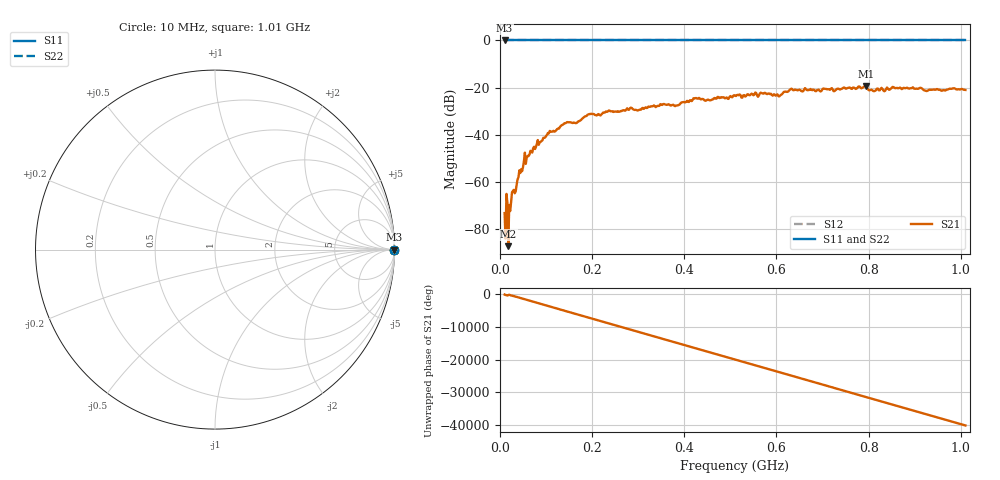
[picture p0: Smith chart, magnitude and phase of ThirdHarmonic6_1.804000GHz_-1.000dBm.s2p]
! 8/16/2025 9:50:43 PM
! C:\ANRITSUVNA\TEMP\TEMP.S2P
! CHANNEL.1
! TR.MEASUREMENT
! RAW.DATA
! RF.CORRECTION.OFF
! AVERAGING.OFF
! IF.BANDWIDTH: 5KHZ
! SWEEPTYPE:  FREQ.SWEEP(Linear)
! Reference Plane Port Info
! PORT:  PORT1  PORT2
! DISTANCE:  0  m  0  m
! TIME:  0  s  0  s
! PHASE.OFFSET:  0  deg.  0  deg.
! LOSS:  0  dB  0  dB
! REF.LOSS:  0  dB  0  dB
! REF.FREQ:  0  Hz  0  Hz
! Power Info
! POWER:  -20  dBm  -20  dBm
! EFF.POWER:  -20  dBm  -20  dBm
! SOURCE.ATTEN:  0  dB  0  dB
! TEST.ATTEN:  0  dB  0  dB
# GHZ S RI R 50.0
! FREQ.GHZ  S11RE  S11IM  S21RE  S21IM  S12RE  S12IM  S22RE  S22IM
!; PortSelection: Port_12
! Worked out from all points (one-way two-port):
!   501 points, 10 MHz to 1.01 GHz, reference 50 ohm
!   highest |S21| = -19.24 dB at 794 MHz (marker M1); lowest = -87.2 dB at 18 MHz (marker M2)
!   lowest |S11| = 0.0 dB at 10 MHz (marker M3)
!   |S11| at or under -10 dB: nowhere
!   |S22| runs from 0.0 to 0.0 dB; largest |S21 - S12| = 1.1
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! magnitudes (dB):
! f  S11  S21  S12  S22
! 10 MHz  0.0  -73.2  0.0  0.0
! 12 MHz  0.0  -84.0  0.0  0.0
! 14 MHz  0.0  -65.0  0.0  0.0
! 18 MHz  0.0  -87.2  0.0  0.0
! 22 MHz  0.0  -72.3  0.0  0.0
! 24 MHz  0.0  -68.7  0.0  0.0
! 28 MHz  0.0  -63.8  0.0  0.0
! 50 MHz  0.0  -53.6  0.0  0.0
! 78 MHz  0.0  -45.1  0.0  0.0
! 106 MHz  0.0  -39.4  0.0  0.0
! 138 MHz  0.0  -35.4  0.0  0.0
! 178 MHz  0.0  -33.2  0.0  0.0
! 194 MHz  0.0  -31.2  0.0  0.0
! 344 MHz  0.0  -27.7  0.0  0.0
! 510 MHz  0.0  -23.4  0.0  0.0
! 608 MHz  0.0  -23.3  0.0  0.0
! 632 MHz  0.0  -20.5  0.0  0.0
! 678 MHz  0.0  -21.1  0.0  0.0
! 794 MHz  0.0  -19.2  0.0  0.0
! 812 MHz  0.0  -21.5  0.0  0.0
! 844 MHz  0.0  -20.9  0.0  0.0
! 1.01 GHz  0.0  -21.0  0.0  0.0
